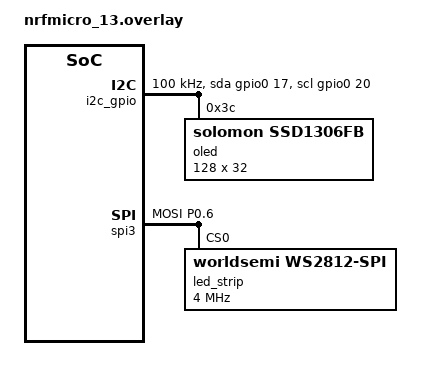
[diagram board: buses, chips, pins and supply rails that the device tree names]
#include <dt-bindings/led/led.h>
#include <dt-bindings/gpio/gpio.h>

&pinctrl {
    spi3_default: spi3_default {
        group1 {
            psels = <NRF_PSEL(SPIM_MOSI, 0, 6)>;
        };
    };

    spi3_sleep: spi3_sleep {
        group1 {
            psels = <NRF_PSEL(SPIM_MOSI, 0, 6)>;
            low-power-enable;
        };
    };
};

&spi3 {
    compatible = "nordic,nrf-spim";
    status = "okay";

    pinctrl-0 = <&spi3_default>;
    pinctrl-1 = <&spi3_sleep>;
    pinctrl-names = "default", "sleep";

    led_strip: ws2812@0 {
        compatible = "worldsemi,ws2812-spi";

        /* SPI */
        reg = <0>; /* ignored, but necessary for SPI bindings */
        spi-max-frequency = <4000000>;

        /* WS2812 */
        chain-length = <36>; /* arbitrary; change at will */
        spi-one-frame = <0x70>;
        spi-zero-frame = <0x40>;

        color-mapping = <
            LED_COLOR_ID_GREEN
            LED_COLOR_ID_RED
            LED_COLOR_ID_BLUE
        >;
    };
};


/ {
    i2c_gpio: i2c_gpio {
        compatible = "gpio-i2c";
        status = "okay";
        sda-gpios = <&gpio0 17 (GPIO_ACTIVE_HIGH | GPIO_OPEN_DRAIN)>;
        scl-gpios = <&gpio0 20 (GPIO_ACTIVE_HIGH | GPIO_OPEN_DRAIN)>;
        clock-frequency = <I2C_BITRATE_STANDARD>;
        #address-cells = <1>;   // 关键修复
        #size-cells = <0>;      // 关键修复

        oled: ssd1306@3c {
            compatible = "solomon,ssd1306fb";
            reg = <0x3c>;
            width = <128>;
            height = <32>;
            segment-offset = <0>;
            page-offset = <0>;
            display-offset = <0>;
            multiplex-ratio = <31>;
            prechargep = <0x22>;
        };
    };
};


/ {
    chosen {
        zmk,underglow = &led_strip;
        zephyr,display = &oled;
    };
};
